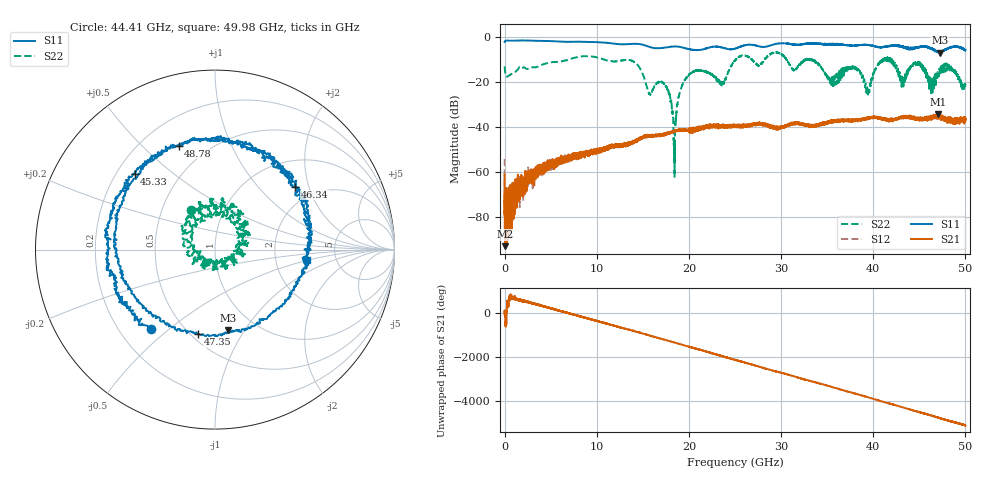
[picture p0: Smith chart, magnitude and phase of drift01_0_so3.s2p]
!Created with skrf (http://scikit-rf.org).
# Hz S RI R 50.0
!freq ReS11 ImS11 ReS21 ImS21 ReS12 ImS12 ReS22 ImS22
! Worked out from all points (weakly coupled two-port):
!   10001 points, 300 kHz to 50 GHz, reference 50 ohm
!   highest |S21| = -34.36 dB at 47.02 GHz (marker M1); lowest = -93.2 dB at 80.3 MHz (marker M2)
!   lowest |S11| = -6.8 dB at 47.21 GHz (marker M3), VSWR 2.67, Z = 37.5 - j42.4 ohm
!   |S11| at or under -10 dB: nowhere
!   |S22| runs from -62.3 to -6.6 dB; largest |S21 - S12| = 0.0034
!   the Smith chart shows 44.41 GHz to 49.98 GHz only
!   S11 on the Smith chart (normalised r, x): 44.41 GHz: 0.33, -0.43; 45.33 GHz: 0.27, +0.37; 46.34 GHz: 1.58, +1.64; 47.35 GHz: 0.54, -0.66; 48.78 GHz: 0.35, +0.65; 49.98 GHz: 3.07, -0.48
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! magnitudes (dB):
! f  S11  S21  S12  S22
! 300 kHz  -2.1  -61.2  -54.3  -12.9
! 80.3 MHz  -1.5  -93.2  -82.8  -16.2
! 8.335 GHz  -1.9  -51.5  -51.9  -8.5
! 16.67 GHz  -4.9  -43.6  -43.4  -19.9
! 17.73 GHz  -4.4  -43.0  -42.8  -23.5
! 18.42 GHz  -4.1  -41.9  -42.0  -49.3
! 19.9 GHz  -5.2  -41.4  -41.2  -17.2
! 23.59 GHz  -4.5  -39.4  -39.4  -20.1
! 25 GHz  -5.0  -39.9  -39.6  -10.4
! 33.34 GHz  -2.6  -39.2  -39.4  -9.9
! 39.36 GHz  -3.4  -36.2  -36.3  -23.1
! 41.67 GHz  -3.9  -36.6  -36.8  -9.7
! 43.18 GHz  -4.3  -35.7  -35.7  -19.7
! 44.41 GHz  -4.9  -36.4  -35.7  -11.7
! 45.33 GHz  -4.2  -36.5  -36.7  -13.6
! 46.34 GHz  -4.9  -36.2  -35.6  -19.1
! 47.02 GHz  -6.5  -34.4  -35.6  -14.9
! 47.21 GHz  -6.8  -35.1  -35.3  -14.5
! 47.35 GHz  -6.4  -35.5  -35.9  -13.5
! 48.78 GHz  -4.2  -38.0  -36.8  -15.4
! 49.98 GHz  -5.7  -37.5  -36.6  -21.4
! 50 GHz  -5.6  -36.4  -36.6  -21.8
